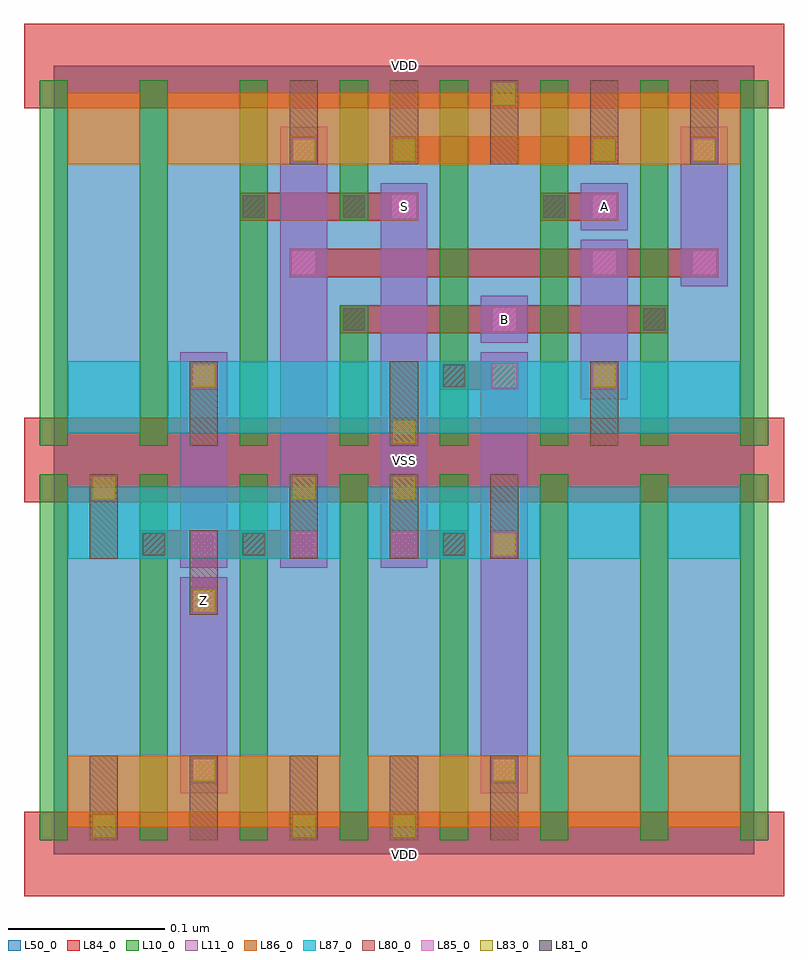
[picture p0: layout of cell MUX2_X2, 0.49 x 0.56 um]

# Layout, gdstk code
import gdstk
lib = gdstk.Library(unit=1e-6, precision=1e-09)
def R(c, l, rs):  # rectangles x0, y0, x1, y1
    for r in rs: c.add(gdstk.rectangle(r[:2], r[2:], *l))
def A(c, l, x, y, w, h, nx, ny, dx, dy):  # array of equal rectangles
    R(c, l, [(x+i*dx, y+j*dy, x+i*dx+w, y+j*dy+h) for i in range(nx) for j in range(ny)])
L10_0 = (10, 0)
L11_0 = (11, 0)
L50_0 = (50, 0)
L80_0 = (80, 0)
L81_0 = (81, 0)
L83_0 = (83, 0)
L84_0 = (84, 0)
L85_0 = (85, 0)
L86_0 = (86, 0)
L87_0 = (87, 0)

mux2_x2 = lib.new_cell('MUX2_X2')
A(mux2_x2, L10_0, -0.009, 0.009, 0.018, 0.234, 8, 1, 0.064, 0)
A(mux2_x2, L10_0, -0.009, 0.261, 0.018, 0.234, 3, 1, 0.064, 0)
A(mux2_x2, L10_0, 0.247, 0.261, 0.018, 0.234, 4, 1, 0.064, 0)
R(mux2_x2, L10_0, [(0.183,0.261,0.201,0.351), (0.183,0.405,0.201,0.495)])
R(mux2_x2, L11_0, [(0.081,0.039,0.111,0.177), (0.273,0.039,0.303,0.321), (0.081,0.183,0.111,0.321), (0.145,0.183,0.175,0.465), (0.209,0.183,0.239,0.429), (0.337,0.291,0.367,0.393), (0.273,0.327,0.303,0.357), (0.401,0.363,0.431,0.465), (0.337,0.399,0.367,0.429)])
R(mux2_x2, L50_0, [(0,0,0.448,0.504)])
A(mux2_x2, L80_0, 0.023, 0.009, 0.018, 0.054, 5, 1, 0.064, 0)
A(mux2_x2, L80_0, 0.151, 0.189, 0.018, 0.054, 3, 1, 0.064, 0)
A(mux2_x2, L80_0, 0.087, 0.261, 0.018, 0.054, 3, 1, 0.128, 0)
A(mux2_x2, L80_0, 0.151, 0.441, 0.018, 0.054, 5, 1, 0.064, 0)
R(mux2_x2, L80_0, [(0.087,0.153,0.105,0.207), (0.023,0.189,0.041,0.243)])
R(mux2_x2, L81_0, [(0.057,0.191,0.071,0.205), (0.121,0.191,0.135,0.205), (0.249,0.191,0.263,0.205), (0.249,0.299,0.263,0.313), (0.185,0.335,0.199,0.349), (0.377,0.335,0.391,0.349), (0.121,0.407,0.135,0.421), (0.185,0.407,0.199,0.421), (0.313,0.407,0.327,0.421)])
A(mux2_x2, L83_0, 0.153, 0.011, 0.014, 0.014, 1, 3, 0, 0.216)
R(mux2_x2, L83_0, [(0.025,0.011,0.039,0.025), (0.217,0.011,0.231,0.025), (0.089,0.047,0.103,0.061), (0.281,0.047,0.295,0.061), (0.089,0.155,0.103,0.169), (0.281,0.191,0.295,0.205), (0.025,0.227,0.039,0.241), (0.217,0.227,0.231,0.241), (0.217,0.263,0.231,0.277), (0.089,0.299,0.103,0.313), (0.345,0.299,0.359,0.313), (0.217,0.443,0.231,0.457), (0.345,0.443,0.359,0.457), (0.409,0.443,0.423,0.457), (0.281,0.479,0.295,0.493)])
A(mux2_x2, L84_0, -0.019, -0.027, 0.486, 0.054, 1, 3, 0, 0.252)
R(mux2_x2, L84_0, [(0.087,0.045,0.105,0.063), (0.279,0.045,0.297,0.063), (0.087,0.153,0.105,0.171), (0.055,0.189,0.169,0.207), (0.215,0.189,0.265,0.207), (0.279,0.189,0.297,0.207), (0.087,0.297,0.105,0.315), (0.247,0.297,0.297,0.315), (0.343,0.297,0.361,0.315), (0.183,0.333,0.393,0.351), (0.151,0.369,0.425,0.387), (0.119,0.405,0.233,0.423), (0.311,0.405,0.361,0.423), (0.151,0.441,0.169,0.459), (0.215,0.441,0.361,0.459), (0.407,0.441,0.425,0.459)])
A(mux2_x2, L85_0, 0.088, 0.19, 0.016, 0.016, 4, 1, 0.064, 0)
R(mux2_x2, L85_0, [(0.088,0.046,0.104,0.062), (0.28,0.046,0.296,0.062), (0.088,0.154,0.104,0.17), (0.088,0.298,0.104,0.314), (0.28,0.298,0.296,0.314), (0.344,0.298,0.36,0.314), (0.28,0.334,0.296,0.35), (0.152,0.37,0.168,0.386), (0.344,0.37,0.36,0.386), (0.408,0.37,0.424,0.386), (0.216,0.406,0.232,0.422), (0.344,0.406,0.36,0.422), (0.152,0.442,0.168,0.458), (0.408,0.442,0.424,0.458)])
R(mux2_x2, L86_0, [(0.009,0.017,0.183,0.063), (0.201,0.017,0.311,0.063), (0.329,0.017,0.375,0.063), (0.393,0.017,0.439,0.063), (0.009,0.441,0.055,0.487), (0.073,0.441,0.439,0.487)])
R(mux2_x2, L87_0, [(0.009,0.189,0.183,0.235), (0.201,0.189,0.311,0.235), (0.329,0.189,0.375,0.235), (0.393,0.189,0.439,0.235), (0.009,0.269,0.055,0.315), (0.073,0.269,0.439,0.315)])
mux2_x2.add(gdstk.Label('VDD', (0.224,0.504), layer=88, texttype=0))
mux2_x2.add(gdstk.Label('VDD', (0.224,0), layer=88, texttype=0))
mux2_x2.add(gdstk.Label('VSS', (0.224,0.252), layer=88, texttype=0))
mux2_x2.add(gdstk.Label('S', (0.224,0.414), layer=31, texttype=0))
mux2_x2.add(gdstk.Label('Z', (0.096,0.162), layer=31, texttype=0))
mux2_x2.add(gdstk.Label('A', (0.352,0.414), layer=31, texttype=0))
mux2_x2.add(gdstk.Label('B', (0.288,0.342), layer=31, texttype=0))

lib.write_gds('MUX2_X2.gds')
